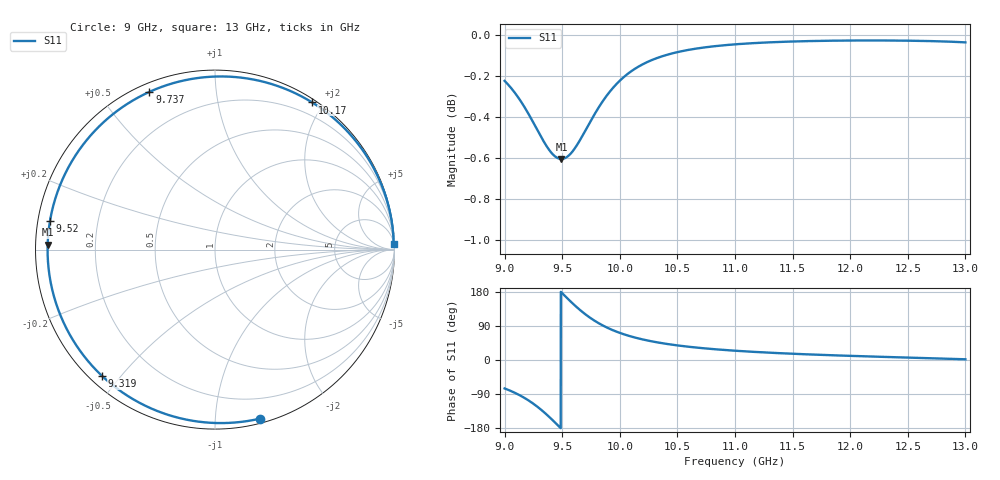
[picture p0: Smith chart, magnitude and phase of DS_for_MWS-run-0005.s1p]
! TOUCHSTONE file generated by CST DESIGN STUDIO
! Date and time: Tue Feb  4 16:21:47 2025
! Project name: C:\Work\MatlabApps\UnitCellOptimizationMatlab\CST\unitcell.cst
! Tree item: Tasks\Sweep1\SPara1\S-Parameters
! Header version: 2024
! Port assignment regex: !\s*Touchstone port\s*([0-9]+)\s*=\s*(CST MWS port|CST DES external port|CST DES block port)\s*(.+)\s* \(\"(.*)\"\)(\s*mode\s*([0-9]+))?.*
! Touchstone port assignment:
! Touchstone port 1 = CST DES external port 1 ("")
# GHz S MA R 50
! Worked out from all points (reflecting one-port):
!   4001 points, 9 GHz to 13 GHz, reference 50 ohm
!   lowest |S11| = -0.6 dB at 9.493 GHz (marker M1), VSWR 28.77, Z = 1.74 + j0.729 ohm
!   phase of S11 starts at -75 deg and turns -283 deg over the sweep
!   S11 on the Smith chart (normalised r, x): 9 GHz: 0.03, -1.30; 9.319 GHz: 0.03, -0.45; 9.52 GHz: 0.03, +0.09; 9.737 GHz: 0.04, +0.67; 10.17 GHz: 0.04, +1.86; 13 GHz: 8, +59
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9  0.9745 -75.1
9.084  0.9684 -85.9
9.184  0.9591 -102.2
9.254  0.9515 -116.4
9.319  0.9442 -131.8
9.365  0.9395 -143.9
9.414  0.9355 -157.9
9.454  0.9335 -169.8
9.493  0.9328 178.3
9.5  0.9328 176.2
9.52  0.9331 170.1
9.572  0.9355 154.6
9.632  0.9405 137.9
9.684  0.9459 124.6
9.737  0.9517 112.6
9.79  0.9574 101.9
9.849  0.9632 91.7
9.923  0.9694 80.8
10  0.9746 71.6
10.166  0.9824 56.6
10.318  0.9869 46.9
10.5  0.9903 38.5
10.722  0.9928 31.1
11  0.9946 24.5
11.5  0.9962 16.5
12  0.9967 10.9
12.5  0.9966 6.4
13  0.9957 1.9
